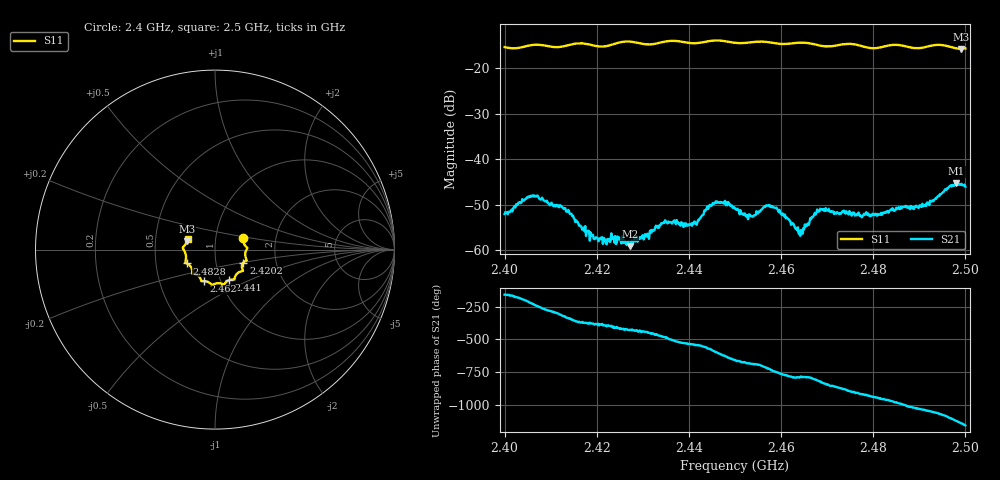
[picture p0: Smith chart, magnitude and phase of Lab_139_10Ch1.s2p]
# Hz S RI R 50
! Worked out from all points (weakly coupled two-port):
!   601 points, 2.4 GHz to 2.5 GHz, reference 50 ohm
!   highest |S21| = -45.32 dB at 2.498 GHz (marker M1); lowest = -59.1 dB at 2.4272 GHz (marker M2)
!   lowest |S11| = -15.8 dB at 2.499 GHz (marker M3), VSWR 1.39, Z = 36.4 + j3.54 ohm
!   |S11| at or under -10 dB: start of sweep to end of sweep
!   S12 and S22 are empty: the file has one direction only
!   S11 on the Smith chart (normalised r, x): 2.4 GHz: 1.36, +0.17; 2.4202 GHz: 1.36, -0.20; 2.441 GHz: 1.10, -0.39; 2.462 GHz: 0.83, -0.30; 2.4828 GHz: 0.72, -0.11; 2.5 GHz: 0.73, +0.09
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2.4e9  0.1582 0.0619  -0.00233 -0.000886  0 0  0 0
2.406667e9  0.1801 0.00985  -0.00196 0.00338  0 0  0 0
2.412667e9  0.1691 -0.0364  0.00231 0.00179  0 0  0 0
2.416667e9  0.1769 -0.0605  0.00176 -0.000344  0 0  0 0
2.420167e9  0.158 -0.0719  0.0012 -0.000649  0 0  0 0
2.427167e9  0.1551 -0.1189  0.000416 -0.00102  0 0  0 0
2.433333e9  0.1116 -0.1511  -0.000637 -0.00174  0 0  0 0
2.441e9  0.0781 -0.1703  -0.00194 2.42e-05  0 0  0 0
2.445667e9  0.0507 -0.1944  -0.0018 0.00274  0 0  0 0
2.45e9  0.0278 -0.1876  0.00144 0.00245  0 0  0 0
2.453833e9  -0.00633 -0.1929  0.002 0.00121  0 0  0 0
2.457333e9  -0.0217 -0.1911  0.00304 -0.000322  0 0  0 0
2.462e9  -0.0608 -0.1757  0.000832 -0.0019  0 0  0 0
2.464333e9  -0.0745 -0.175  0.000699 -0.00151  0 0  0 0
2.466667e9  -0.0787 -0.1678  0.000507 -0.00226  0 0  0 0
2.469167e9  -0.0891 -0.1497  -0.00122 -0.00256  0 0  0 0
2.482833e9  -0.1572 -0.0769  -0.00111 0.00234  0 0  0 0
2.483333e9  -0.1602 -0.0755  -0.00099 0.00238  0 0  0 0
2.491667e9  -0.1717 -0.00483  0.00282 0.00178  0 0  0 0
2.498e9  -0.161 0.0346  0.0038 -0.00387  0 0  0 0
2.499e9  -0.1554 0.0473  0.00234 -0.00467  0 0  0 0
2.5e9  -0.1524 0.0615  0.000838 -0.00491  0 0  0 0
